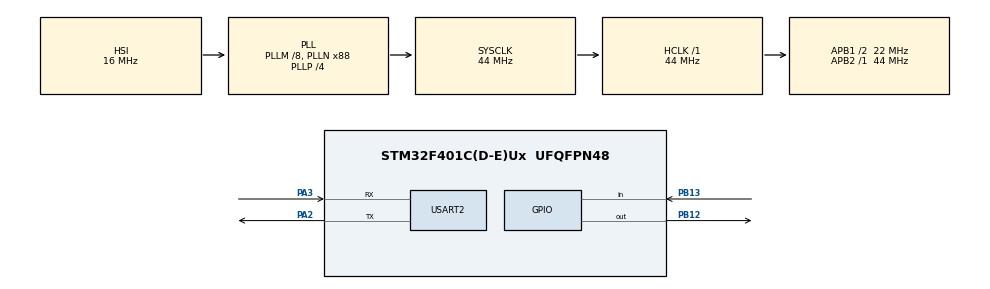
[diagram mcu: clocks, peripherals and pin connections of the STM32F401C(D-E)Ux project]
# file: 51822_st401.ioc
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Mcu.Family=STM32F4
Mcu.Name=STM32F401C(D-E)Ux
Mcu.Package=UFQFPN48
NVIC.PriorityGroup=NVIC_PRIORITYGROUP_4
NVIC.USART2_IRQn=true\:5\:0\:true
PA13.Mode=Serial-Wire
PA13.Signal=SYS_JTMS-SWDIO
PA14.Mode=Serial-Wire
PA14.Signal=SYS_JTCK-SWCLK
PA2.Mode=Asynchronous
PA2.Signal=USART2_TX
PA3.Mode=Asynchronous
PA3.Signal=USART2_RX
PB12.GPIO_PuPd=GPIO_PULLUP
PB12.GPIO_Speed=GPIO_SPEED_LOW
PB12.PinState=GPIO_PIN_SET
PB12.Signal=GPIO_Output
PB13.Signal=GPIO_Input
ProjectManager.HeapSize=0x400
ProjectManager.StackSize=0x200
ProjectManager.TargetToolchain=MDK-ARM V5
RCC.48MHZClocksFreq_Value=44000000
RCC.AHBFreq_Value=44000000
RCC.APB1CLKDivider=RCC_HCLK_DIV2
RCC.APB1Freq_Value=22000000
RCC.APB1TimFreq_Value=44000000
RCC.APB2Freq_Value=44000000
RCC.APB2TimFreq_Value=44000000
RCC.CortexFreq_Value=44000000
RCC.HCLKFreq_Value=44000000
RCC.HSE_VALUE=25000000
RCC.HSI_VALUE=16000000
RCC.LSE_VALUE=32768
RCC.PLLM=8
RCC.PLLN=88
RCC.PLLP=RCC_PLLP_DIV4
RCC.RCC_RTC_Clock_Source=RCC_RTCCLKSOURCE_LSE
RCC.RCC_RTC_Clock_SourceVirtual=RCC_RTCCLKSOURCE_LSE
RCC.SYSCLKFreq_VALUE=44000000
RCC.SYSCLKSource=RCC_SYSCLKSOURCE_PLLCLK
RCC.VCOOutputFreq_Value=176000000
board=51822_st401

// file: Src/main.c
/**
  ******************************************************************************
  * File Name          : main.c
  * Description        : Main program body
  ******************************************************************************
  *
  * COPYRIGHT(c) 2016 STMicroelectronics
  *
  * Redistribution and use in source and binary forms, with or without modification,
  * are permitted provided that the following conditions are met:
  *   1. Redistributions of source code must retain the above copyright notice,
  *      this list of conditions and the following disclaimer.
  *   2. Redistributions in binary form must reproduce the above copyright notice,
  *      this list of conditions and the following disclaimer in the documentation
  *      and/or other materials provided with the distribution.
  *   3. Neither the name of STMicroelectronics nor the names of its contributors
  *      may be used to endorse or promote products derived from this software
  *      without specific prior written permission.
  *
  * THIS SOFTWARE IS PROVIDED BY THE COPYRIGHT HOLDERS AND CONTRIBUTORS "AS IS"
  * AND ANY EXPRESS OR IMPLIED WARRANTIES, INCLUDING, BUT NOT LIMITED TO, THE
  * IMPLIED WARRANTIES OF MERCHANTABILITY AND FITNESS FOR A PARTICULAR PURPOSE ARE
  * DISCLAIMED. IN NO EVENT SHALL THE COPYRIGHT HOLDER OR CONTRIBUTORS BE LIABLE
  * FOR ANY DIRECT, INDIRECT, INCIDENTAL, SPECIAL, EXEMPLARY, OR CONSEQUENTIAL
  * DAMAGES (INCLUDING, BUT NOT LIMITED TO, PROCUREMENT OF SUBSTITUTE GOODS OR
  * SERVICES; LOSS OF USE, DATA, OR PROFITS; OR BUSINESS INTERRUPTION) HOWEVER
  * CAUSED AND ON ANY THEORY OF LIABILITY, WHETHER IN CONTRACT, STRICT LIABILITY,
  * OR TORT (INCLUDING NEGLIGENCE OR OTHERWISE) ARISING IN ANY WAY OUT OF THE USE
  * OF THIS SOFTWARE, EVEN IF ADVISED OF THE POSSIBILITY OF SUCH DAMAGE.
  *
  ******************************************************************************
  */
#include "stm32f4xx_hal.h"
#include "usart.h"
#include "gpio.h"

/* USER CODE BEGIN Includes */
#include "stm32f4xx_hal_rtc.h"
#include "SEGGER_RTT.h"
/* USER CODE END Includes */

/* USER CODE BEGIN PV */
/* Private variables ---------------------------------------------------------*/

uint8_t  data_flag=0;//1-receive data
RTC_HandleTypeDef hrtc;
uint8_t update_flag=0;

/* USER CODE END PV */

void SystemClock_Config(void);

/* USER CODE BEGIN PFP */
/* Private function prototypes -----------------------------------------------*/

/* USER CODE END PFP */

/* USER CODE BEGIN 0 */
static void rtc_init()
{
  hrtc.Instance = RTC;
  hrtc.Init.HourFormat = RTC_HOURFORMAT_24;
  hrtc.Init.AsynchPrediv = 127;
  hrtc.Init.SynchPrediv = 255;
  hrtc.Init.OutPut = RTC_OUTPUT_DISABLE;
  hrtc.Init.OutPutPolarity = RTC_OUTPUT_POLARITY_HIGH;
  hrtc.Init.OutPutType = RTC_OUTPUT_TYPE_OPENDRAIN;
  HAL_RTC_Init(&hrtc);
	__HAL_RCC_RTC_ENABLE();

}

/* USER CODE END 0 */

int main(void)
{

  /* USER CODE BEGIN 1 */
uint8_t count=0,count1=0;
  /* USER CODE END 1 */

  /* MCU Configuration----------------------------------------------------------*/

  /* Reset of all peripherals, Initializes the Flash interface and the Systick. */
  HAL_Init();

  /* Configure the system clock */
  SystemClock_Config();

  /* Initialize all configured peripherals */
  MX_GPIO_Init();
  MX_USART2_UART_Init();

  /* USER CODE BEGIN 2 */
	rtc_init();
	//test
	if (HAL_RTCEx_BKUPRead(&hrtc, RTC_BKP_DR2) == 0xabcd)
	{
		update_flag=1;
		for(int i=0;i<12;i++)
			SEGGER_RTT_printf(0,"add=%x;value=%x;\r\n",0x08008000+i,*(uint8_t *)(0x08008000+i));
		update_start();
		uart_read();
		send_shakehand(1);

	}
  /* USER CODE END 2 */

  /* Infinite loop */
  /* USER CODE BEGIN WHILE */
	while(1)
	{
		if(count>20)
		{
			JumpToApp();
		}
		if(data_flag==1)
		{
			rece_dispatch();
			data_flag=0;
		}
		if(update_flag!=1)
		{
			HAL_Delay(100);
			count++;
		}
		else
		{
			HAL_Delay(1);

			count=0;
		}

  /* USER CODE END WHILE */

  }

}

/** System Clock Configuration
*/
void SystemClock_Config(void)
{

  RCC_OscInitTypeDef RCC_OscInitStruct;
  RCC_ClkInitTypeDef RCC_ClkInitStruct;

  __PWR_CLK_ENABLE();

  __HAL_PWR_VOLTAGESCALING_CONFIG(PWR_REGULATOR_VOLTAGE_SCALE2);

  RCC_OscInitStruct.OscillatorType = RCC_OSCILLATORTYPE_HSI;
  RCC_OscInitStruct.HSIState = RCC_HSI_ON;
  RCC_OscInitStruct.HSICalibrationValue = 16;
  RCC_OscInitStruct.PLL.PLLState = RCC_PLL_ON;
  RCC_OscInitStruct.PLL.PLLSource = RCC_PLLSOURCE_HSI;
  RCC_OscInitStruct.PLL.PLLM = 8;
  RCC_OscInitStruct.PLL.PLLN = 88;
  RCC_OscInitStruct.PLL.PLLP = RCC_PLLP_DIV4;
  RCC_OscInitStruct.PLL.PLLQ = 4;
  HAL_RCC_OscConfig(&RCC_OscInitStruct);

  RCC_ClkInitStruct.ClockType = RCC_CLOCKTYPE_HCLK|RCC_CLOCKTYPE_SYSCLK
                              |RCC_CLOCKTYPE_PCLK1|RCC_CLOCKTYPE_PCLK2;
  RCC_ClkInitStruct.SYSCLKSource = RCC_SYSCLKSOURCE_PLLCLK;
  RCC_ClkInitStruct.AHBCLKDivider = RCC_SYSCLK_DIV1;
  RCC_ClkInitStruct.APB1CLKDivider = RCC_HCLK_DIV2;
  RCC_ClkInitStruct.APB2CLKDivider = RCC_HCLK_DIV1;
  HAL_RCC_ClockConfig(&RCC_ClkInitStruct, FLASH_LATENCY_1);

  HAL_SYSTICK_Config(HAL_RCC_GetHCLKFreq()/1000);

  HAL_SYSTICK_CLKSourceConfig(SYSTICK_CLKSOURCE_HCLK);

  /* SysTick_IRQn interrupt configuration */
  HAL_NVIC_SetPriority(SysTick_IRQn, 0, 0);
}

/************************ (C) COPYRIGHT STMicroelectronics *****END OF FILE****/
